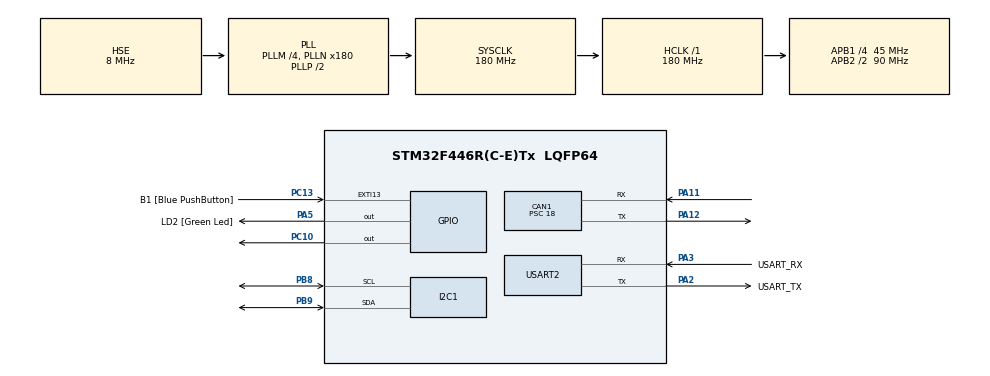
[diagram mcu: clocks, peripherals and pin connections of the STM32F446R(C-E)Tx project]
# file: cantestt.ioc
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CAN1.BS1=CAN_BS1_2TQ
CAN1.BS2=CAN_BS2_2TQ
CAN1.CalculateBaudRate=500000
CAN1.CalculateTimeBit=2000
CAN1.CalculateTimeQuantum=400.0
CAN1.Prescaler=18
Mcu.Family=STM32F4
Mcu.Name=STM32F446R(C-E)Tx
Mcu.Package=LQFP64
NVIC.CAN1_RX1_IRQn=true\:0\:0\:false\:false\:true\:true\:true\:true
NVIC.PriorityGroup=NVIC_PRIORITYGROUP_0
PA11.Mode=CAN_Activate
PA11.Signal=CAN1_RX
PA12.Mode=CAN_Activate
PA12.Signal=CAN1_TX
PA13.GPIO_Label=TMS
PA13.Mode=Serial_Wire
PA13.Signal=SYS_JTMS-SWDIO
PA14.GPIO_Label=TCK
PA14.Mode=Serial_Wire
PA14.Signal=SYS_JTCK-SWCLK
PA2.GPIO_Label=USART_TX
PA2.Mode=Asynchronous
PA2.Signal=USART2_TX
PA3.GPIO_Label=USART_RX
PA3.Mode=Asynchronous
PA3.Signal=USART2_RX
PA5.GPIO_Label=LD2 [Green Led]
PA5.Signal=GPIO_Output
PB3.GPIO_Label=SWO
PB3.Signal=SYS_JTDO-SWO
PB8.GPIO_Pu=GPIO_PULLUP
PB8.Mode=I2C
PB8.Signal=I2C1_SCL
PB9.GPIO_Pu=GPIO_PULLUP
PB9.Mode=I2C
PB9.Signal=I2C1_SDA
PC10.Signal=GPIO_Output
PC13.GPIO_Label=B1 [Blue PushButton]
PC13.GPIO_ModeDefaultEXTI=GPIO_MODE_IT_FALLING
PC13.Signal=GPXTI13
PC14-OSC32_IN.Mode=LSE-External-Oscillator
PC14-OSC32_IN.Signal=RCC_OSC32_IN
PC15-OSC32_OUT.Mode=LSE-External-Oscillator
PC15-OSC32_OUT.Signal=RCC_OSC32_OUT
PH0-OSC_IN.Mode=HSE-External-Oscillator
PH0-OSC_IN.Signal=RCC_OSC_IN
PH1-OSC_OUT.Mode=HSE-External-Oscillator
PH1-OSC_OUT.Signal=RCC_OSC_OUT
ProjectManager.HeapSize=0x200
ProjectManager.StackSize=0x400
ProjectManager.TargetToolchain=STM32CubeIDE
RCC.48MHZClocksFreq_Value=84000000
RCC.AHBFreq_Value=180000000
RCC.APB1CLKDivider=RCC_HCLK_DIV4
RCC.APB1Freq_Value=45000000
RCC.APB1TimFreq_Value=90000000
RCC.APB2CLKDivider=RCC_HCLK_DIV2
RCC.APB2Freq_Value=90000000
RCC.APB2TimFreq_Value=180000000
RCC.CortexFreq_Value=180000000
RCC.FLatency-AdvancedSettings=FLASH_LATENCY_5
RCC.HCLKFreq_Value=180000000
RCC.HSE_VALUE=8000000
RCC.HSI_VALUE=16000000
RCC.PLLM=4
RCC.PLLN=180
RCC.PLLSourceVirtual=RCC_PLLSOURCE_HSE
RCC.SYSCLKFreq_VALUE=180000000
RCC.SYSCLKSource=RCC_SYSCLKSOURCE_PLLCLK
RCC.USBFreq_Value=180000000
RCC.VCOOutputFreq_Value=360000000
USART2.VirtualMode=VM_ASYNC
board=NUCLEO-F446RE

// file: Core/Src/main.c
/* USER CODE BEGIN Header */
/**
  ******************************************************************************
  * @file           : main.c
  * @brief          : Main program body
  ******************************************************************************
  * @attention
  *
  * Copyright (c) 2025 STMicroelectronics.
  * All rights reserved.
  *
  * This software is licensed under terms that can be found in the LICENSE file
  * in the root directory of this software component.
  * If no LICENSE file comes with this software, it is provided AS-IS.
  *
  ******************************************************************************
  */
/* USER CODE END Header */
#include "main.h"

/* USER CODE BEGIN Includes */
#include "i2c_lcd.h"
#include <stdio.h>
#include <string.h>
/* USER CODE END Includes */

CAN_HandleTypeDef hcan1;

I2C_HandleTypeDef hi2c1;

UART_HandleTypeDef huart2;

void SystemClock_Config(void);
static void MX_GPIO_Init(void);
static void MX_USART2_UART_Init(void);
static void MX_CAN1_Init(void);
static void MX_I2C1_Init(void);

/* USER CODE BEGIN 0 */
char msg[64];

CAN_TxHeaderTypeDef TxHeader;
CAN_RxHeaderTypeDef RxHeader;

uint8_t TxData[8];
uint8_t RxData[8];

uint32_t TxMailbox;
int datacheck=0;

void HAL_CAN_RxFifo1MsgPendingCallback(CAN_HandleTypeDef *hcan)
{
	HAL_CAN_GetRxMessage(hcan, CAN_RX_FIFO1, &RxHeader, RxData);
	if(RxHeader.DLC==3)
	{
		datacheck=1;
	}
	}

/* USER CODE END 0 */

int main(void)
{

  /* MCU Configuration--------------------------------------------------------*/

  /* Reset of all peripherals, Initializes the Flash interface and the Systick. */
  HAL_Init();

  /* Configure the system clock */
  SystemClock_Config();

  /* Initialize all configured peripherals */
  MX_GPIO_Init();
  MX_USART2_UART_Init();
  MX_CAN1_Init();
  MX_I2C1_Init();
  /* USER CODE BEGIN 2 */
  HAL_CAN_Start(&hcan1);
  lcd_init();

  //activate notification//enable it
  HAL_CAN_ActivateNotification(&hcan1, CAN_IT_RX_FIFO1_MSG_PENDING);

  TxHeader.DLC=3;
  TxHeader.IDE=CAN_ID_STD;
  TxHeader.RTR=CAN_RTR_DATA;
  TxHeader.StdId=0x103;

  /* USER CODE END 2 */

  /* Infinite loop */
  while (1)
  {

    /* USER CODE BEGIN 3 */
	  if(datacheck)
	  		{
	  			char temp[10];
	  			char message[32];
	  			//sprintf(temp, "%u", RxData[2]);
	  			 sprintf(temp, "%u", RxData[2]);

	  			if(RxData[0]==1)
	  			{HAL_GPIO_WritePin(GPIOC, GPIO_PIN_10, 1);
	  				lcd_put_cur(0,0);
	  				lcd_send_string("ALERT DE GAZ");
	  				HAL_Delay(3000);
	  				HAL_GPIO_WritePin(GPIOC, GPIO_PIN_10, 0);

	  			}else if(RxData[0]==0){
	  				lcd_clear();
	  				lcd_put_cur(0,0);
	  				lcd_send_string("%GAZ=0");
	  				HAL_Delay(100);

	  			}/*else {

	  				lcd_clear();
	  				lcd_put_cur(0,0);
	  				lcd_send_string("pas de probleme");
	  				HAL_Delay(100);
	  				lcd_put_cur(1,0);
	  				lcd_send_string(strcat("TEMP:", temp));
	  			}*/
	  			if(RxData[1]==1){
	  				strcpy(message, "ALERT TEMP: ");
	  				    strcat(message, temp);
	  				  lcd_put_cur(1,0);
	  				    lcd_send_string(message);
	  				/*lcd_put_cur(1,0);
	  				lcd_send_string(strcat("ALERT TEMP:", temp));
	  				HAL_Delay(100);*/

	  			}else if(RxData[1]==0){

	  				/*lcd_put_cur(1,0);
	  				lcd_send_string(strcat("TEMP NORMAL:", temp));//strcat("Temp standard:", temp)
	  				HAL_Delay(100);*/
	  				strcpy(message, "TEMP NORMAL: ");
	  				    strcat(message, temp);
	  				  lcd_put_cur(1,0);
	  				    lcd_send_string(message);
	  			}
	  			datacheck=0;
	  			//HAL_GPIO_TogglePin(GPIOA, GPIO_PIN_5);
	  		}
		//HAL_GPIO_TogglePin(GPIOA, GPIO_PIN_5);
  }
  /* USER CODE END 3 */
}

void SystemClock_Config(void)
{
  RCC_OscInitTypeDef RCC_OscInitStruct = {0};
  RCC_ClkInitTypeDef RCC_ClkInitStruct = {0};

  /** Configure the main internal regulator output voltage
  */
  __HAL_RCC_PWR_CLK_ENABLE();
  __HAL_PWR_VOLTAGESCALING_CONFIG(PWR_REGULATOR_VOLTAGE_SCALE1);

  /** Initializes the RCC Oscillators according to the specified parameters
  * in the RCC_OscInitTypeDef structure.
  */
  RCC_OscInitStruct.OscillatorType = RCC_OSCILLATORTYPE_HSE;
  RCC_OscInitStruct.HSEState = RCC_HSE_ON;
  RCC_OscInitStruct.PLL.PLLState = RCC_PLL_ON;
  RCC_OscInitStruct.PLL.PLLSource = RCC_PLLSOURCE_HSE;
  RCC_OscInitStruct.PLL.PLLM = 4;
  RCC_OscInitStruct.PLL.PLLN = 180;
  RCC_OscInitStruct.PLL.PLLP = RCC_PLLP_DIV2;
  RCC_OscInitStruct.PLL.PLLQ = 2;
  RCC_OscInitStruct.PLL.PLLR = 2;
  if (HAL_RCC_OscConfig(&RCC_OscInitStruct) != HAL_OK)
  {
    Error_Handler();
  }

  /** Activate the Over-Drive mode
  */
  if (HAL_PWREx_EnableOverDrive() != HAL_OK)
  {
    Error_Handler();
  }

  /** Initializes the CPU, AHB and APB buses clocks
  */
  RCC_ClkInitStruct.ClockType = RCC_CLOCKTYPE_HCLK|RCC_CLOCKTYPE_SYSCLK
                              |RCC_CLOCKTYPE_PCLK1|RCC_CLOCKTYPE_PCLK2;
  RCC_ClkInitStruct.SYSCLKSource = RCC_SYSCLKSOURCE_PLLCLK;
  RCC_ClkInitStruct.AHBCLKDivider = RCC_SYSCLK_DIV1;
  RCC_ClkInitStruct.APB1CLKDivider = RCC_HCLK_DIV4;
  RCC_ClkInitStruct.APB2CLKDivider = RCC_HCLK_DIV2;

  if (HAL_RCC_ClockConfig(&RCC_ClkInitStruct, FLASH_LATENCY_5) != HAL_OK)
  {
    Error_Handler();
  }
}

static void MX_CAN1_Init(void)
{

  hcan1.Instance = CAN1;
  hcan1.Init.Prescaler = 18;
  hcan1.Init.Mode = CAN_MODE_NORMAL;
  hcan1.Init.SyncJumpWidth = CAN_SJW_1TQ;
  hcan1.Init.TimeSeg1 = CAN_BS1_2TQ;
  hcan1.Init.TimeSeg2 = CAN_BS2_2TQ;
  hcan1.Init.TimeTriggeredMode = DISABLE;
  hcan1.Init.AutoBusOff = DISABLE;
  hcan1.Init.AutoWakeUp = DISABLE;
  hcan1.Init.AutoRetransmission = DISABLE;
  hcan1.Init.ReceiveFifoLocked = DISABLE;
  hcan1.Init.TransmitFifoPriority = DISABLE;
  if (HAL_CAN_Init(&hcan1) != HAL_OK)
  {
    Error_Handler();
  }
  /* USER CODE BEGIN CAN1_Init 2 */
  CAN_FilterTypeDef canfilterconfig;
    canfilterconfig.FilterActivation=CAN_FILTER_ENABLE;
    canfilterconfig.FilterBank=10;
    canfilterconfig.FilterFIFOAssignment=CAN_FILTER_FIFO1;
    canfilterconfig.FilterIdHigh=0x446<<5;
    canfilterconfig.FilterIdLow=0;
    canfilterconfig.FilterMaskIdHigh=0x446<<5;
    canfilterconfig.FilterMaskIdLow=0x0000;
    canfilterconfig.FilterMode=CAN_FILTERMODE_IDMASK;
    canfilterconfig.FilterScale=CAN_FILTERSCALE_32BIT;
    canfilterconfig.SlaveStartFilterBank=0;

    HAL_CAN_ConfigFilter(&hcan1, &canfilterconfig);
  /* USER CODE END CAN1_Init 2 */

}

static void MX_I2C1_Init(void)
{

  hi2c1.Instance = I2C1;
  hi2c1.Init.ClockSpeed = 100000;
  hi2c1.Init.DutyCycle = I2C_DUTYCYCLE_2;
  hi2c1.Init.OwnAddress1 = 0;
  hi2c1.Init.AddressingMode = I2C_ADDRESSINGMODE_7BIT;
  hi2c1.Init.DualAddressMode = I2C_DUALADDRESS_DISABLE;
  hi2c1.Init.OwnAddress2 = 0;
  hi2c1.Init.GeneralCallMode = I2C_GENERALCALL_DISABLE;
  hi2c1.Init.NoStretchMode = I2C_NOSTRETCH_DISABLE;
  if (HAL_I2C_Init(&hi2c1) != HAL_OK)
  {
    Error_Handler();
  }

}

static void MX_USART2_UART_Init(void)
{

  huart2.Instance = USART2;
  huart2.Init.BaudRate = 115200;
  huart2.Init.WordLength = UART_WORDLENGTH_8B;
  huart2.Init.StopBits = UART_STOPBITS_1;
  huart2.Init.Parity = UART_PARITY_NONE;
  huart2.Init.Mode = UART_MODE_TX_RX;
  huart2.Init.HwFlowCtl = UART_HWCONTROL_NONE;
  huart2.Init.OverSampling = UART_OVERSAMPLING_16;
  if (HAL_UART_Init(&huart2) != HAL_OK)
  {
    Error_Handler();
  }

}

static void MX_GPIO_Init(void)
{
  GPIO_InitTypeDef GPIO_InitStruct = {0};

  /* GPIO Ports Clock Enable */
  __HAL_RCC_GPIOC_CLK_ENABLE();
  __HAL_RCC_GPIOH_CLK_ENABLE();
  __HAL_RCC_GPIOA_CLK_ENABLE();
  __HAL_RCC_GPIOB_CLK_ENABLE();

  /*Configure GPIO pin Output Level */
  HAL_GPIO_WritePin(LD2_GPIO_Port, LD2_Pin, GPIO_PIN_RESET);

  /*Configure GPIO pin Output Level */
  HAL_GPIO_WritePin(GPIOC, GPIO_PIN_10, GPIO_PIN_RESET);

  /*Configure GPIO pin : B1_Pin */
  GPIO_InitStruct.Pin = B1_Pin;
  GPIO_InitStruct.Mode = GPIO_MODE_IT_FALLING;
  GPIO_InitStruct.Pull = GPIO_NOPULL;
  HAL_GPIO_Init(B1_GPIO_Port, &GPIO_InitStruct);

  /*Configure GPIO pin : LD2_Pin */
  GPIO_InitStruct.Pin = LD2_Pin;
  GPIO_InitStruct.Mode = GPIO_MODE_OUTPUT_PP;
  GPIO_InitStruct.Pull = GPIO_NOPULL;
  GPIO_InitStruct.Speed = GPIO_SPEED_FREQ_LOW;
  HAL_GPIO_Init(LD2_GPIO_Port, &GPIO_InitStruct);

  /*Configure GPIO pin : PC10 */
  GPIO_InitStruct.Pin = GPIO_PIN_10;
  GPIO_InitStruct.Mode = GPIO_MODE_OUTPUT_PP;
  GPIO_InitStruct.Pull = GPIO_NOPULL;
  GPIO_InitStruct.Speed = GPIO_SPEED_FREQ_LOW;
  HAL_GPIO_Init(GPIOC, &GPIO_InitStruct);

}

void Error_Handler(void)
{
  __disable_irq();
  while (1)
  {
  }
}
